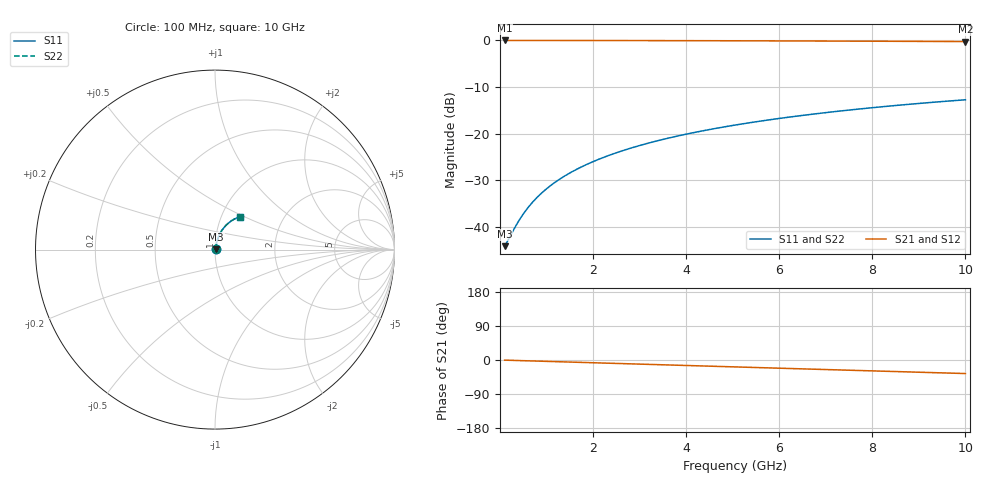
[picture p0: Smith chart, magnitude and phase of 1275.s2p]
# Hz S RI R 50.00
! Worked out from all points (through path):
!   100 points, 100 MHz to 10 GHz, reference 50 ohm
!   highest |S21| = -0.05 dB at 100 MHz (marker M1); lowest = -0.3 dB at 10 GHz (marker M2)
!   group delay of S21, straight-line fit = 9.94 ps
!   lowest |S11| = -44.2 dB at 100 MHz (marker M3), VSWR 1.01, Z = 50.6 + j0.248 ohm
!   |S11| at or under -10 dB: start of sweep to end of sweep
!   |S22| runs from -44.2 to -12.8 dB; largest |S21 - S12| = 0
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1e8  0.00569 0.00245  0.9943 -0.00628  0.9943 -0.00628  0.00569 0.00245
3e8  0.00588 0.00735  0.994 -0.0188  0.994 -0.0188  0.00588 0.00735
4e8  0.00601 0.0098  0.9939 -0.0251  0.9939 -0.0251  0.00601 0.0098
5e8  0.00617 0.0122  0.9936 -0.0314  0.9936 -0.0314  0.00617 0.0122
6e8  0.00635 0.0147  0.9934 -0.0377  0.9934 -0.0377  0.00635 0.0147
7e8  0.00657 0.0171  0.993 -0.0439  0.993 -0.0439  0.00657 0.0171
8e8  0.00681 0.0196  0.9927 -0.0502  0.9927 -0.0502  0.00681 0.0196
1e9  0.00739 0.0244  0.9918 -0.0627  0.9918 -0.0627  0.00739 0.0244
1.2e9  0.00809 0.0293  0.9908 -0.0752  0.9908 -0.0752  0.00809 0.0293
1.5e9  0.00937 0.0365  0.9889 -0.094  0.9889 -0.094  0.00937 0.0365
1.8e9  0.0109 0.0437  0.9866 -0.1126  0.9866 -0.1126  0.0109 0.0437
2.1e9  0.0127 0.0508  0.9839 -0.1312  0.9839 -0.1312  0.0127 0.0508
2.5e9  0.0156 0.0602  0.9797 -0.1559  0.9797 -0.1559  0.0156 0.0602
2.9e9  0.0189 0.0694  0.9748 -0.1804  0.9748 -0.1804  0.0189 0.0694
3.4e9  0.0236 0.0806  0.9677 -0.2108  0.9677 -0.2108  0.0236 0.0806
4.2e9  0.0326 0.0978  0.9541 -0.2587  0.9541 -0.2587  0.0326 0.0978
5.1e9  0.0448 0.116  0.9357 -0.3113  0.9357 -0.3113  0.0448 0.116
5.9e9  0.0572 0.1308  0.9167 -0.3567  0.9167 -0.3567  0.0572 0.1308
6.7e9  0.071 0.1443  0.8953 -0.4008  0.8953 -0.4008  0.071 0.1443
7.5e9  0.0859 0.1563  0.8716 -0.4433  0.8716 -0.4433  0.0859 0.1563
8.4e9  0.1041 0.1679  0.8425 -0.4891  0.8425 -0.4891  0.1041 0.1679
1e10  0.1388 0.1833  0.785 -0.5649  0.785 -0.5649  0.1388 0.1833
